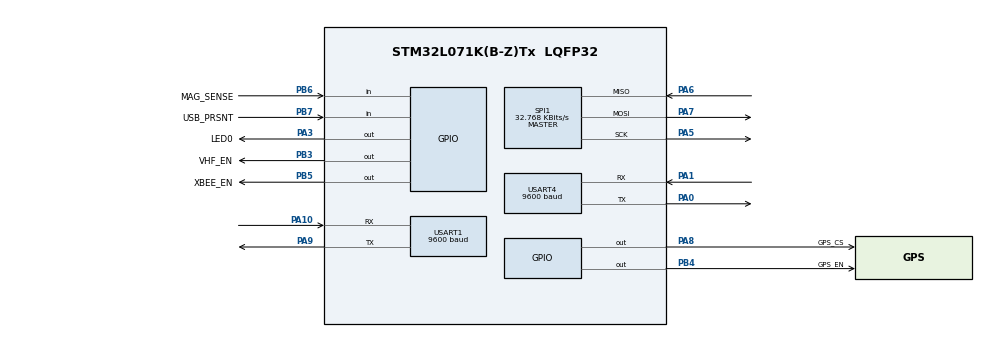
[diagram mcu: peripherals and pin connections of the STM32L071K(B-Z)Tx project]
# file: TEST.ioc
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Mcu.Family=STM32L0
Mcu.Name=STM32L071K(B-Z)Tx
Mcu.Package=LQFP32
NVIC.RTC_IRQn=true\:0\:0\:false\:false\:true\:true\:true
NVIC.SPI1_IRQn=true\:0\:0\:false\:false\:true\:true\:true
NVIC.TIM2_IRQn=true\:0\:0\:false\:false\:true\:true\:true
NVIC.USART1_IRQn=true\:0\:0\:false\:false\:true\:true\:true
NVIC.USART4_5_IRQn=true\:0\:0\:false\:false\:true\:true\:true
PA0.Mode=Asynchronous
PA0.Signal=USART4_TX
PA1.Mode=Asynchronous
PA1.Signal=USART4_RX
PA10.Mode=Asynchronous
PA10.Signal=USART1_RX
PA13.Mode=Serial_Wire
PA13.Signal=SYS_SWDIO
PA14.Mode=Serial_Wire
PA14.Signal=SYS_SWCLK
PA3.GPIO_Label=LED0
PA3.Signal=GPIO_Output
PA5.Mode=Full_Duplex_Master
PA5.Signal=SPI1_SCK
PA6.Mode=Full_Duplex_Master
PA6.Signal=SPI1_MISO
PA7.Mode=Full_Duplex_Master
PA7.Signal=SPI1_MOSI
PA8.GPIO_Label=GPS_CS
PA8.Signal=GPIO_Output
PA9.Mode=Asynchronous
PA9.Signal=USART1_TX
PB3.GPIO_Label=VHF_EN
PB3.Signal=GPIO_Output
PB4.GPIO_Label=GPS_EN
PB4.Signal=GPIO_Output
PB5.GPIO_Label=XBEE_EN
PB5.Signal=GPIO_Output
PB6.GPIO_Label=MAG_SENSE
PB6.Signal=GPIO_Input
PB7.GPIO_Label=USB_PRSNT
PB7.Signal=GPIO_Input
PC14-OSC32_IN.Mode=LSE-External-Oscillator
PC14-OSC32_IN.Signal=RCC_OSC32_IN
PC15-OSC32_OUT.Mode=LSE-External-Oscillator
PC15-OSC32_OUT.Signal=RCC_OSC32_OUT
ProjectManager.HeapSize=0x200
ProjectManager.StackSize=0x400
ProjectManager.TargetToolchain=MDK-ARM V5
RCC.AHBFreq_Value=262144
RCC.APB1Freq_Value=262144
RCC.APB1TimFreq_Value=262144
RCC.APB2Freq_Value=262144
RCC.APB2TimFreq_Value=262144
RCC.HCLKFreq_Value=262144
RCC.HSI16_VALUE=16000000
RCC.HSI_VALUE=16000000
RCC.MSIClockRange=RCC_MSIRANGE_2
RCC.MSI_VALUE=262144
RCC.RTCClockSelection=RCC_RTCCLKSOURCE_LSE
RCC.SYSCLKFreq_VALUE=262144
RCC.VCOOutputFreq_Value=48000000
RTC.Alarm=RTC_ALARM_A
SPI1.BaudRatePrescaler=SPI_BAUDRATEPRESCALER_8
SPI1.CalculateBaudRate=32.768 KBits/s
SPI1.Direction=SPI_DIRECTION_2LINES
SPI1.Mode=SPI_MODE_MASTER
SPI1.VirtualType=VM_MASTER
USART1.BaudRate=9600
USART1.VirtualMode-Asynchronous=VM_ASYNC
USART4.BaudRate=9600
USART4.SwapParam=ADVFEATURE_SWAP_ENABLE
USART4.VirtualMode-Asynchronous=VM_ASYNC
VP_RTC_VS_RTC_Activate.Mode=RTC_Enabled
VP_RTC_VS_RTC_Alarm_A_Intern.Mode=Alarm A
VP_RTC_VS_RTC_Calendar.Mode=RTC_Calendar
VP_TIM2_VS_ClockSourceINT.Mode=Internal
board=custom

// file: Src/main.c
/* USER CODE BEGIN Header */
/**
  ******************************************************************************
  * @file           : main.c
  * @brief          : Main program body
  ******************************************************************************
  * @attention
  *
  * <h2><center>&copy; Copyright (c) 2019 STMicroelectronics.
  * All rights reserved.</center></h2>
  *
  * This software component is licensed by ST under BSD 3-Clause license,
  * the "License"; You may not use this file except in compliance with the
  * License. You may obtain a copy of the License at:
  *                        opensource.org/licenses/BSD-3-Clause
  *
  ******************************************************************************
  */
/* USER CODE END Header */

#include "main.h"

/* USER CODE BEGIN Includes */
#include "comport.h"
#include "globals.h"
#include "flash.h"
#include "xbee.h"
#include "timers.h"
#include "scheduler.h"
#include <string.h>
/* USER CODE END Includes */

/* USER CODE BEGIN PV */
int checkSchedule = 0;
int GPS_active = 0;
int XB_VHF_active = 0;
/* USER CODE END PV */

void SystemClock_Config(void);
static void MX_GPIO_Init(void);
static void MX_RTC_Init(void);
static void MX_SPI1_Init(void);
static void MX_TIM2_Init(void);
static void MX_USART1_UART_Init(void);
static void MX_USART4_UART_Init(void);

int main(void)
{

  /* MCU Configuration--------------------------------------------------------*/

  /* Reset of all peripherals, Initializes the Flash interface and the Systick. */

  LL_APB2_GRP1_EnableClock(LL_APB2_GRP1_PERIPH_SYSCFG);
  LL_APB1_GRP1_EnableClock(LL_APB1_GRP1_PERIPH_PWR);

  /* System interrupt init*/

  /* Configure the system clock */
  SystemClock_Config();

  /* Initialize all configured peripherals */
  MX_GPIO_Init();
  MX_RTC_Init();
  MX_SPI1_Init();
  MX_TIM2_Init();
  MX_USART1_UART_Init();
  MX_USART4_UART_Init();
  /* USER CODE BEGIN 2 */
	LL_USART_Disable(USART1);
	LL_USART_Disable(USART4);
	USART4->CR1 |= USART_CR1_RXNEIE;
	USART1->CR1 |= USART_CR1_RXNEIE;
	LL_USART_Enable(USART1);
	LL_USART_Enable(USART4);

	__enable_irq();

	RTC_initAlarm();
	TIM2_init();

	XB_EnableXbee();
	GPS_GPSDisable();
	GPS_GPSCSHigh();

	struct GPS_POS pos;
	char fix[32];

	FLASH_initDataStorage();

	memset(&pos, 1, sizeof(pos));
	FLASH_saveFix(pos);
	memset(&pos, 2, sizeof(pos));
	FLASH_saveFix(pos);
	memset(&pos, 3, sizeof(pos));
	FLASH_saveFix(pos);
	memset(&pos, 4, sizeof(pos));
	FLASH_saveFix(pos);

	int index = 0;
	char fixes[4][32];
	while( FLASH_readFixes( &fix[0] ) == 0 ){
		strcpy( fixes[index], fix);
		index++;
	};

	while(1);

	//-----------------
	// Main Variables
	int GPS_active 	= 0;
	int XB_VHF_active 	= 0;

	FLASH_initDataStorage();
	/*
	while(1){
		GPS_subroutine();	// ACK?
		TIM2_delay(100);  // CFG?0123456789ABCDEF?
		// GFG?
	}*/
  /* USER CODE END 2 */

  /* Infinite loop */
  /* USER CODE BEGIN WHILE */
  while (1)
  {		//Check for com port connected
		//----------------------------
		if(CC_ComPortPresent())
		{
			//Check for handshake from GUI
			if(CC_CheckForHandshake())
			{
				//Handshake completed, look for command, execute commands and loop
				while (CC_ComPortPresent())
				{
					CC_ExecuteCommand(CC_ParseCommand());
				}
			}

		}//Comport present

		if( checkSchedule == 1){
			scheduler( &GPS_active, &XB_VHF_active );
			checkSchedule = 0;
		}
		if(GPS_active == 1){
			//GPS_subroutine();
		}

    /* USER CODE END WHILE */

  }
}

void SystemClock_Config(void)
{
  LL_FLASH_SetLatency(LL_FLASH_LATENCY_0);

  if(LL_FLASH_GetLatency() != LL_FLASH_LATENCY_0)
  {
  Error_Handler();
  }
  LL_PWR_SetRegulVoltageScaling(LL_PWR_REGU_VOLTAGE_SCALE1);
  LL_RCC_MSI_Enable();

   /* Wait till MSI is ready */
  while(LL_RCC_MSI_IsReady() != 1)
  {

  }
  LL_RCC_MSI_SetRange(LL_RCC_MSIRANGE_2);
  LL_RCC_MSI_SetCalibTrimming(0);
  LL_PWR_EnableBkUpAccess();
  LL_RCC_ForceBackupDomainReset();
  LL_RCC_ReleaseBackupDomainReset();
  LL_RCC_LSE_SetDriveCapability(LL_RCC_LSEDRIVE_LOW);
  LL_RCC_LSE_Enable();

   /* Wait till LSE is ready */
  while(LL_RCC_LSE_IsReady() != 1)
  {

  }
  LL_RCC_SetRTCClockSource(LL_RCC_RTC_CLKSOURCE_LSE);
  LL_RCC_EnableRTC();
  LL_RCC_SetAHBPrescaler(LL_RCC_SYSCLK_DIV_1);
  LL_RCC_SetAPB1Prescaler(LL_RCC_APB1_DIV_1);
  LL_RCC_SetAPB2Prescaler(LL_RCC_APB2_DIV_1);
  LL_RCC_SetSysClkSource(LL_RCC_SYS_CLKSOURCE_MSI);

   /* Wait till System clock is ready */
  while(LL_RCC_GetSysClkSource() != LL_RCC_SYS_CLKSOURCE_STATUS_MSI)
  {

  }
  LL_Init1msTick(262144);
  LL_SYSTICK_SetClkSource(LL_SYSTICK_CLKSOURCE_HCLK);
  LL_SetSystemCoreClock(262144);
  LL_RCC_SetUSARTClockSource(LL_RCC_USART1_CLKSOURCE_PCLK2);
}

static void MX_RTC_Init(void)
{

  LL_RTC_InitTypeDef RTC_InitStruct = {0};
  LL_RTC_TimeTypeDef RTC_TimeStruct = {0};
  LL_RTC_DateTypeDef RTC_DateStruct = {0};

  /* Peripheral clock enable */
  LL_RCC_EnableRTC();

  /* RTC interrupt Init */
  NVIC_SetPriority(RTC_IRQn, 0);
  NVIC_EnableIRQ(RTC_IRQn);

  /** Initialize RTC and set the Time and Date
  */
  RTC_InitStruct.HourFormat = LL_RTC_HOURFORMAT_24HOUR;
  RTC_InitStruct.AsynchPrescaler = 127;
  RTC_InitStruct.SynchPrescaler = 255;
  LL_RTC_Init(RTC, &RTC_InitStruct);
  /** Initialize RTC and set the Time and Date
  */
  RTC_TimeStruct.Hours = 0;
  RTC_TimeStruct.Minutes = 0;
  RTC_TimeStruct.Seconds = 0;
  LL_RTC_TIME_Init(RTC, LL_RTC_FORMAT_BCD, &RTC_TimeStruct);
  RTC_DateStruct.WeekDay = LL_RTC_WEEKDAY_MONDAY;
  RTC_DateStruct.Month = LL_RTC_MONTH_JANUARY;
  RTC_DateStruct.Year = 0;
  LL_RTC_DATE_Init(RTC, LL_RTC_FORMAT_BCD, &RTC_DateStruct);
  /** Initialize RTC and set the Time and Date
  */

}

static void MX_SPI1_Init(void)
{

  LL_SPI_InitTypeDef SPI_InitStruct = {0};

  LL_GPIO_InitTypeDef GPIO_InitStruct = {0};

  /* Peripheral clock enable */
  LL_APB2_GRP1_EnableClock(LL_APB2_GRP1_PERIPH_SPI1);

  LL_IOP_GRP1_EnableClock(LL_IOP_GRP1_PERIPH_GPIOA);
  /**SPI1 GPIO Configuration
  PA5   ------> SPI1_SCK
  PA6   ------> SPI1_MISO
  PA7   ------> SPI1_MOSI
  */
  GPIO_InitStruct.Pin = LL_GPIO_PIN_5;
  GPIO_InitStruct.Mode = LL_GPIO_MODE_ALTERNATE;
  GPIO_InitStruct.Speed = LL_GPIO_SPEED_FREQ_VERY_HIGH;
  GPIO_InitStruct.OutputType = LL_GPIO_OUTPUT_PUSHPULL;
  GPIO_InitStruct.Pull = LL_GPIO_PULL_NO;
  GPIO_InitStruct.Alternate = LL_GPIO_AF_0;
  LL_GPIO_Init(GPIOA, &GPIO_InitStruct);

  GPIO_InitStruct.Pin = LL_GPIO_PIN_6;
  GPIO_InitStruct.Mode = LL_GPIO_MODE_ALTERNATE;
  GPIO_InitStruct.Speed = LL_GPIO_SPEED_FREQ_VERY_HIGH;
  GPIO_InitStruct.OutputType = LL_GPIO_OUTPUT_PUSHPULL;
  GPIO_InitStruct.Pull = LL_GPIO_PULL_NO;
  GPIO_InitStruct.Alternate = LL_GPIO_AF_0;
  LL_GPIO_Init(GPIOA, &GPIO_InitStruct);

  GPIO_InitStruct.Pin = LL_GPIO_PIN_7;
  GPIO_InitStruct.Mode = LL_GPIO_MODE_ALTERNATE;
  GPIO_InitStruct.Speed = LL_GPIO_SPEED_FREQ_VERY_HIGH;
  GPIO_InitStruct.OutputType = LL_GPIO_OUTPUT_PUSHPULL;
  GPIO_InitStruct.Pull = LL_GPIO_PULL_NO;
  GPIO_InitStruct.Alternate = LL_GPIO_AF_0;
  LL_GPIO_Init(GPIOA, &GPIO_InitStruct);

  /* SPI1 interrupt Init */
  NVIC_SetPriority(SPI1_IRQn, 0);
  NVIC_EnableIRQ(SPI1_IRQn);

  /* SPI1 parameter configuration*/
  SPI_InitStruct.TransferDirection = LL_SPI_FULL_DUPLEX;
  SPI_InitStruct.Mode = LL_SPI_MODE_MASTER;
  SPI_InitStruct.DataWidth = LL_SPI_DATAWIDTH_8BIT;
  SPI_InitStruct.ClockPolarity = LL_SPI_POLARITY_LOW;
  SPI_InitStruct.ClockPhase = LL_SPI_PHASE_1EDGE;
  SPI_InitStruct.NSS = LL_SPI_NSS_SOFT;
  SPI_InitStruct.BaudRate = LL_SPI_BAUDRATEPRESCALER_DIV8;
  SPI_InitStruct.BitOrder = LL_SPI_MSB_FIRST;
  SPI_InitStruct.CRCCalculation = LL_SPI_CRCCALCULATION_DISABLE;
  SPI_InitStruct.CRCPoly = 7;
  LL_SPI_Init(SPI1, &SPI_InitStruct);
  LL_SPI_SetStandard(SPI1, LL_SPI_PROTOCOL_MOTOROLA);
  /* USER CODE BEGIN SPI1_Init 2 */
	if((SPI1->CR1 & SPI_CR1_SPE) != SPI_CR1_SPE){
      // If disabled, I enable it
      SPI1->CR1 |= SPI_CR1_SPE;
  }
  /* USER CODE END SPI1_Init 2 */

}

static void MX_TIM2_Init(void)
{

  LL_TIM_InitTypeDef TIM_InitStruct = {0};

  /* Peripheral clock enable */
  LL_APB1_GRP1_EnableClock(LL_APB1_GRP1_PERIPH_TIM2);

  /* TIM2 interrupt Init */
  NVIC_SetPriority(TIM2_IRQn, 0);
  NVIC_EnableIRQ(TIM2_IRQn);

  TIM_InitStruct.Prescaler = 0;
  TIM_InitStruct.CounterMode = LL_TIM_COUNTERMODE_UP;
  TIM_InitStruct.Autoreload = 0;
  TIM_InitStruct.ClockDivision = LL_TIM_CLOCKDIVISION_DIV1;
  LL_TIM_Init(TIM2, &TIM_InitStruct);
  LL_TIM_DisableARRPreload(TIM2);
  LL_TIM_SetClockSource(TIM2, LL_TIM_CLOCKSOURCE_INTERNAL);
  LL_TIM_SetTriggerOutput(TIM2, LL_TIM_TRGO_RESET);
  LL_TIM_DisableMasterSlaveMode(TIM2);

}

static void MX_USART1_UART_Init(void)
{

  LL_USART_InitTypeDef USART_InitStruct = {0};

  LL_GPIO_InitTypeDef GPIO_InitStruct = {0};

  /* Peripheral clock enable */
  LL_APB2_GRP1_EnableClock(LL_APB2_GRP1_PERIPH_USART1);

  LL_IOP_GRP1_EnableClock(LL_IOP_GRP1_PERIPH_GPIOA);
  /**USART1 GPIO Configuration
  PA9   ------> USART1_TX
  PA10   ------> USART1_RX
  */
  GPIO_InitStruct.Pin = LL_GPIO_PIN_9;
  GPIO_InitStruct.Mode = LL_GPIO_MODE_ALTERNATE;
  GPIO_InitStruct.Speed = LL_GPIO_SPEED_FREQ_VERY_HIGH;
  GPIO_InitStruct.OutputType = LL_GPIO_OUTPUT_PUSHPULL;
  GPIO_InitStruct.Pull = LL_GPIO_PULL_NO;
  GPIO_InitStruct.Alternate = LL_GPIO_AF_4;
  LL_GPIO_Init(GPIOA, &GPIO_InitStruct);

  GPIO_InitStruct.Pin = LL_GPIO_PIN_10;
  GPIO_InitStruct.Mode = LL_GPIO_MODE_ALTERNATE;
  GPIO_InitStruct.Speed = LL_GPIO_SPEED_FREQ_VERY_HIGH;
  GPIO_InitStruct.OutputType = LL_GPIO_OUTPUT_PUSHPULL;
  GPIO_InitStruct.Pull = LL_GPIO_PULL_NO;
  GPIO_InitStruct.Alternate = LL_GPIO_AF_4;
  LL_GPIO_Init(GPIOA, &GPIO_InitStruct);

  /* USART1 interrupt Init */
  NVIC_SetPriority(USART1_IRQn, 0);
  NVIC_EnableIRQ(USART1_IRQn);

  USART_InitStruct.BaudRate = 9600;
  USART_InitStruct.DataWidth = LL_USART_DATAWIDTH_8B;
  USART_InitStruct.StopBits = LL_USART_STOPBITS_1;
  USART_InitStruct.Parity = LL_USART_PARITY_NONE;
  USART_InitStruct.TransferDirection = LL_USART_DIRECTION_TX_RX;
  USART_InitStruct.HardwareFlowControl = LL_USART_HWCONTROL_NONE;
  USART_InitStruct.OverSampling = LL_USART_OVERSAMPLING_16;
  LL_USART_Init(USART1, &USART_InitStruct);
  LL_USART_ConfigAsyncMode(USART1);
  LL_USART_Enable(USART1);

}

static void MX_USART4_UART_Init(void)
{

  LL_USART_InitTypeDef USART_InitStruct = {0};

  LL_GPIO_InitTypeDef GPIO_InitStruct = {0};

  /* Peripheral clock enable */
  LL_APB1_GRP1_EnableClock(LL_APB1_GRP1_PERIPH_USART4);

  LL_IOP_GRP1_EnableClock(LL_IOP_GRP1_PERIPH_GPIOA);
  /**USART4 GPIO Configuration
  PA0   ------> USART4_TX
  PA1   ------> USART4_RX
  */
  GPIO_InitStruct.Pin = LL_GPIO_PIN_0;
  GPIO_InitStruct.Mode = LL_GPIO_MODE_ALTERNATE;
  GPIO_InitStruct.Speed = LL_GPIO_SPEED_FREQ_VERY_HIGH;
  GPIO_InitStruct.OutputType = LL_GPIO_OUTPUT_PUSHPULL;
  GPIO_InitStruct.Pull = LL_GPIO_PULL_NO;
  GPIO_InitStruct.Alternate = LL_GPIO_AF_6;
  LL_GPIO_Init(GPIOA, &GPIO_InitStruct);

  GPIO_InitStruct.Pin = LL_GPIO_PIN_1;
  GPIO_InitStruct.Mode = LL_GPIO_MODE_ALTERNATE;
  GPIO_InitStruct.Speed = LL_GPIO_SPEED_FREQ_VERY_HIGH;
  GPIO_InitStruct.OutputType = LL_GPIO_OUTPUT_PUSHPULL;
  GPIO_InitStruct.Pull = LL_GPIO_PULL_NO;
  GPIO_InitStruct.Alternate = LL_GPIO_AF_6;
  LL_GPIO_Init(GPIOA, &GPIO_InitStruct);

  /* USART4 interrupt Init */
  NVIC_SetPriority(USART4_5_IRQn, 0);
  NVIC_EnableIRQ(USART4_5_IRQn);

  USART_InitStruct.BaudRate = 9600;
  USART_InitStruct.DataWidth = LL_USART_DATAWIDTH_8B;
  USART_InitStruct.StopBits = LL_USART_STOPBITS_1;
  USART_InitStruct.Parity = LL_USART_PARITY_NONE;
  USART_InitStruct.TransferDirection = LL_USART_DIRECTION_TX_RX;
  USART_InitStruct.HardwareFlowControl = LL_USART_HWCONTROL_NONE;
  USART_InitStruct.OverSampling = LL_USART_OVERSAMPLING_16;
  LL_USART_Init(USART4, &USART_InitStruct);
  LL_USART_SetTXRXSwap(USART4, LL_USART_TXRX_SWAPPED);
  LL_USART_ConfigAsyncMode(USART4);
  LL_USART_Enable(USART4);

}

static void MX_GPIO_Init(void)
{
  LL_GPIO_InitTypeDef GPIO_InitStruct = {0};

  /* GPIO Ports Clock Enable */
  LL_IOP_GRP1_EnableClock(LL_IOP_GRP1_PERIPH_GPIOC);
  LL_IOP_GRP1_EnableClock(LL_IOP_GRP1_PERIPH_GPIOA);
  LL_IOP_GRP1_EnableClock(LL_IOP_GRP1_PERIPH_GPIOB);

  /**/
  LL_GPIO_ResetOutputPin(LED0_GPIO_Port, LED0_Pin);

  /**/
  LL_GPIO_ResetOutputPin(GPS_CS_GPIO_Port, GPS_CS_Pin);

  /**/
  LL_GPIO_ResetOutputPin(VHF_EN_GPIO_Port, VHF_EN_Pin);

  /**/
  LL_GPIO_ResetOutputPin(GPS_EN_GPIO_Port, GPS_EN_Pin);

  /**/
  LL_GPIO_ResetOutputPin(XBEE_EN_GPIO_Port, XBEE_EN_Pin);

  /**/
  GPIO_InitStruct.Pin = LED0_Pin;
  GPIO_InitStruct.Mode = LL_GPIO_MODE_OUTPUT;
  GPIO_InitStruct.Speed = LL_GPIO_SPEED_FREQ_LOW;
  GPIO_InitStruct.OutputType = LL_GPIO_OUTPUT_PUSHPULL;
  GPIO_InitStruct.Pull = LL_GPIO_PULL_NO;
  LL_GPIO_Init(LED0_GPIO_Port, &GPIO_InitStruct);

  /**/
  GPIO_InitStruct.Pin = GPS_CS_Pin;
  GPIO_InitStruct.Mode = LL_GPIO_MODE_OUTPUT;
  GPIO_InitStruct.Speed = LL_GPIO_SPEED_FREQ_LOW;
  GPIO_InitStruct.OutputType = LL_GPIO_OUTPUT_PUSHPULL;
  GPIO_InitStruct.Pull = LL_GPIO_PULL_NO;
  LL_GPIO_Init(GPS_CS_GPIO_Port, &GPIO_InitStruct);

  /**/
  GPIO_InitStruct.Pin = VHF_EN_Pin;
  GPIO_InitStruct.Mode = LL_GPIO_MODE_OUTPUT;
  GPIO_InitStruct.Speed = LL_GPIO_SPEED_FREQ_LOW;
  GPIO_InitStruct.OutputType = LL_GPIO_OUTPUT_PUSHPULL;
  GPIO_InitStruct.Pull = LL_GPIO_PULL_NO;
  LL_GPIO_Init(VHF_EN_GPIO_Port, &GPIO_InitStruct);

  /**/
  GPIO_InitStruct.Pin = GPS_EN_Pin;
  GPIO_InitStruct.Mode = LL_GPIO_MODE_OUTPUT;
  GPIO_InitStruct.Speed = LL_GPIO_SPEED_FREQ_LOW;
  GPIO_InitStruct.OutputType = LL_GPIO_OUTPUT_PUSHPULL;
  GPIO_InitStruct.Pull = LL_GPIO_PULL_NO;
  LL_GPIO_Init(GPS_EN_GPIO_Port, &GPIO_InitStruct);

  /**/
  GPIO_InitStruct.Pin = XBEE_EN_Pin;
  GPIO_InitStruct.Mode = LL_GPIO_MODE_OUTPUT;
  GPIO_InitStruct.Speed = LL_GPIO_SPEED_FREQ_LOW;
  GPIO_InitStruct.OutputType = LL_GPIO_OUTPUT_PUSHPULL;
  GPIO_InitStruct.Pull = LL_GPIO_PULL_NO;
  LL_GPIO_Init(XBEE_EN_GPIO_Port, &GPIO_InitStruct);

  /**/
  GPIO_InitStruct.Pin = MAG_SENSE_Pin;
  GPIO_InitStruct.Mode = LL_GPIO_MODE_INPUT;
  GPIO_InitStruct.Pull = LL_GPIO_PULL_NO;
  LL_GPIO_Init(MAG_SENSE_GPIO_Port, &GPIO_InitStruct);

  /**/
  GPIO_InitStruct.Pin = USB_PRSNT_Pin;
  GPIO_InitStruct.Mode = LL_GPIO_MODE_INPUT;
  GPIO_InitStruct.Pull = LL_GPIO_PULL_NO;
  LL_GPIO_Init(USB_PRSNT_GPIO_Port, &GPIO_InitStruct);

}

void Error_Handler(void)
{
}

/************************ (C) COPYRIGHT STMicroelectronics *****END OF FILE****/
